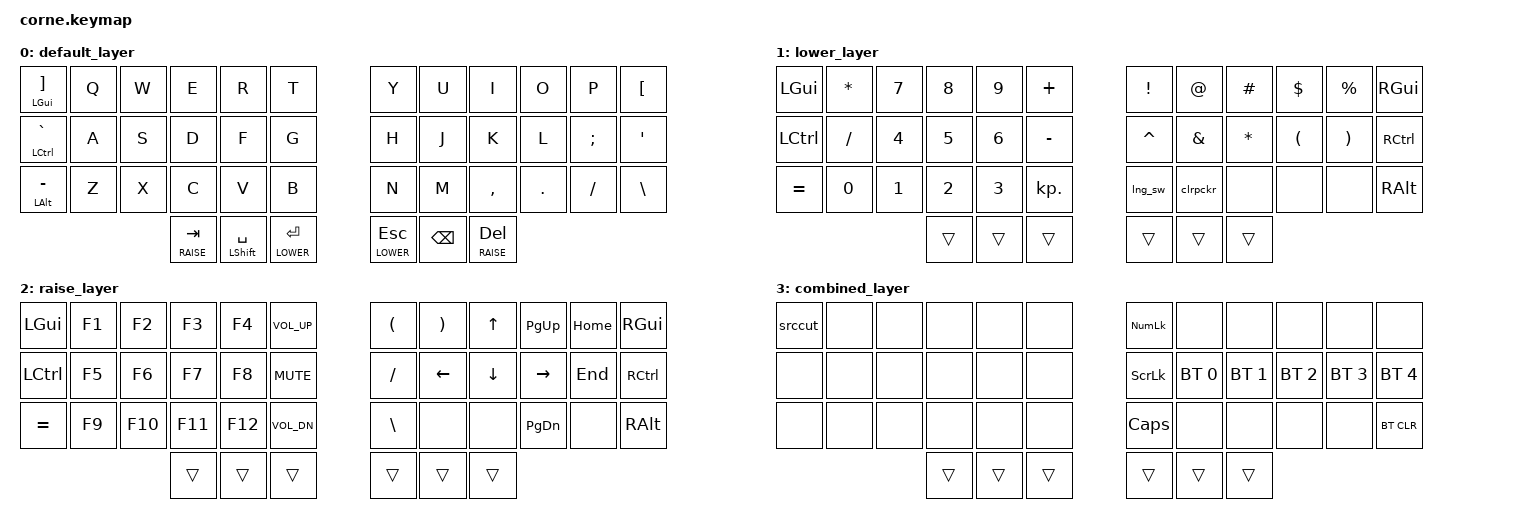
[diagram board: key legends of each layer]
/*
 * Copyright (c) 2020 The ZMK Contributors
 *
 * SPDX-License-Identifier: MIT
 */

#include <behaviors.dtsi>
#include <dt-bindings/zmk/bt.h>
#include <dt-bindings/zmk/keys.h>

#define DEFAULT 0
#define LOWER   1
#define RAISE   2
#define COMBINED 3

&mt {
    tapping-term-ms = <180>;
    flavor = "balanced";
};

/ {
    macros {
        clrpckr: clrpckr {
            compatible = "zmk,behavior-macro";
            #binding-cells = <0>;
            bindings =
                <&macro_press>,
                <&kp LGUI>,
                <&macro_press>,
                <&kp LSHFT>,
                <&macro_tap>,
                <&kp C>,
                <&macro_release>,
                <&kp LSHFT>,
                <&macro_release>,
                <&kp LGUI>;
        };

        lng_sw: lng_sw {
            compatible = "zmk,behavior-macro";
            #binding-cells = <0>;
            bindings =
                <&macro_press>,
                <&kp LGUI>,
                <&macro_tap>,
                <&kp SPACE>,
                <&macro_release>,
                <&kp LGUI>;
        };

        srccut: srccut {
            compatible = "zmk,behavior-macro";
            #binding-cells = <0>;
            bindings =
                <&macro_press>,
                <&kp LGUI>,
                <&macro_press>,
                <&kp LSHFT>,
                <&macro_tap>,
                <&kp S>,
                <&macro_release>,
                <&kp LSHFT>,
                <&macro_release>,
                <&kp LGUI>;
        };
    };

    conditional_layers {
        compatible = "zmk,conditional-layers";

        tri_layer {
            if-layers = <1 2>;
            then-layer = <3>;
        };
    };

    keymap {
        compatible = "zmk,keymap";

        default_layer {
            bindings = <
&mt LGUI RBKT    &kp Q  &kp W  &kp E          &kp R             &kp T              &kp Y          &kp U          &kp I          &kp O    &kp P     &kp LBKT
&mt LCTRL GRAVE  &kp A  &kp S  &kp D          &kp F             &kp G              &kp H          &kp J          &kp K          &kp L    &kp SEMI  &kp SINGLE_QUOTE
&mt LALT MINUS   &kp Z  &kp X  &kp C          &kp V             &kp B              &kp N          &kp M          &kp COMMA      &kp DOT  &kp FSLH  &kp BACKSLASH
                               &lt RAISE TAB  &mt LSHIFT SPACE  &lt LOWER ENTER    &lt LOWER ESC  &kp BACKSPACE  &lt RAISE DEL
            >;
        };

        lower_layer {
            bindings = <
&kp LEFT_GUI  &kp ASTRK  &kp N7  &kp N8  &kp N9  &kp PLUS      &kp EXCL   &kp AT         &kp HASH      &kp DLLR  &kp PERCENT  &kp RGUI
&kp LCTRL     &kp SLASH  &kp N4  &kp N5  &kp N6  &kp MINUS     &kp CARET  &kp AMPERSAND  &kp ASTERISK  &kp LPAR  &kp RPAR     &kp RCTRL
&kp EQUAL     &kp N0     &kp N1  &kp N2  &kp N3  &kp KP_DOT    &lng_sw    &clrpckr       &none         &none     &none        &kp RALT
                                 &trans  &trans  &trans        &trans     &trans         &trans
            >;
        };

        raise_layer {
            bindings = <
&kp LGUI   &kp F1  &kp F2   &kp F3   &kp F4   &kp C_VOLUME_UP    &kp LPAR       &kp RPAR  &kp UP    &kp PG_UP  &kp HOME  &kp RGUI
&kp LCTRL  &kp F5  &kp F6   &kp F7   &kp F8   &kp C_MUTE         &kp SLASH      &kp LEFT  &kp DOWN  &kp RIGHT  &kp END   &kp RCTRL
&kp EQUAL  &kp F9  &kp F10  &kp F11  &kp F12  &kp C_VOL_DN       &kp BACKSLASH  &none     &none     &kp PG_DN  &none     &kp RALT
                            &trans   &trans   &trans             &trans         &trans    &trans
            >;
        };

        combined_layer {
            bindings = <
&srccut  &none  &none  &none   &none   &none     &kp KP_NUM      &none         &none         &none         &none         &none
&none    &none  &none  &none   &none   &none     &kp SCROLLLOCK  &bt BT_SEL 0  &bt BT_SEL 1  &bt BT_SEL 2  &bt BT_SEL 3  &bt BT_SEL 4
&none    &none  &none  &none   &none   &none     &kp CAPS        &none         &none         &none         &none         &bt BT_CLR
                       &trans  &trans  &trans    &trans          &trans        &trans
            >;
        };
    };
};
